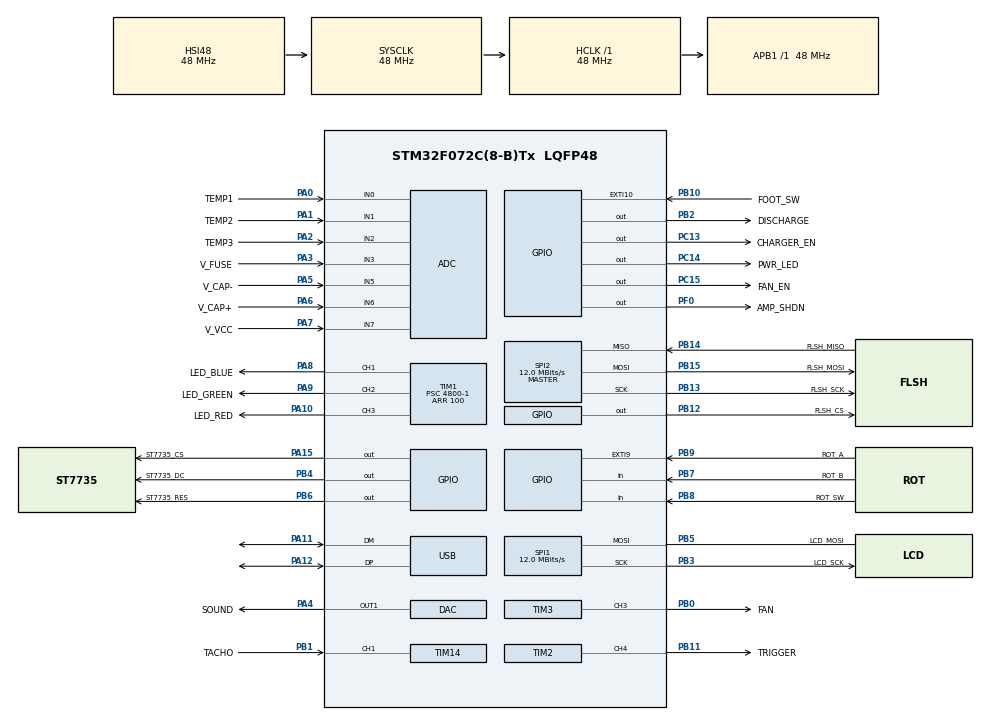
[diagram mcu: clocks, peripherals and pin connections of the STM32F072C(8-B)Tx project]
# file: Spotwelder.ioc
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ADC.SamplingTime=ADC_SAMPLETIME_7CYCLES_5
DAC.DAC_Trigger=DAC_TRIGGER_T6_TRGO
Dma.ADC.1.Direction=DMA_PERIPH_TO_MEMORY
Dma.ADC.1.Instance=DMA1_Channel1
Dma.ADC.1.MemDataAlignment=DMA_MDATAALIGN_HALFWORD
Dma.ADC.1.MemInc=DMA_MINC_ENABLE
Dma.ADC.1.Mode=DMA_NORMAL
Dma.ADC.1.PeriphDataAlignment=DMA_PDATAALIGN_HALFWORD
Dma.ADC.1.PeriphInc=DMA_PINC_DISABLE
Dma.ADC.1.Priority=DMA_PRIORITY_LOW
Dma.DAC_CH1.0.Direction=DMA_MEMORY_TO_PERIPH
Dma.DAC_CH1.0.Instance=DMA1_Channel3
Dma.DAC_CH1.0.MemDataAlignment=DMA_MDATAALIGN_BYTE
Dma.DAC_CH1.0.MemInc=DMA_MINC_ENABLE
Dma.DAC_CH1.0.Mode=DMA_CIRCULAR
Dma.DAC_CH1.0.PeriphDataAlignment=DMA_PDATAALIGN_HALFWORD
Dma.DAC_CH1.0.PeriphInc=DMA_PINC_DISABLE
Dma.DAC_CH1.0.Priority=DMA_PRIORITY_LOW
Dma.Request0=DAC_CH1
Dma.Request1=ADC
Mcu.Family=STM32F0
Mcu.Name=STM32F072C(8-B)Tx
Mcu.Package=LQFP48
NVIC.DMA1_Channel1_IRQn=true\:0\:0\:false\:false\:true\:false\:true
NVIC.DMA1_Channel2_3_IRQn=true\:0\:0\:false\:false\:true\:false\:true
NVIC.EXTI4_15_IRQn=true\:0\:0\:false\:false\:true\:true\:true
NVIC.TIM15_IRQn=true\:0\:0\:false\:false\:true\:true\:true
NVIC.TIM2_IRQn=true\:0\:0\:false\:false\:true\:true\:true
NVIC.TIM6_DAC_IRQn=true\:0\:0\:false\:false\:true\:true\:true
NVIC.USB_IRQn=true\:0\:0\:false\:false\:true\:false\:true
PA0.GPIO_Label=TEMP1
PA0.Mode=IN0
PA0.Signal=ADC_IN0
PA1.GPIO_Label=TEMP2
PA1.Mode=IN1
PA1.Signal=ADC_IN1
PA10.GPIO_Label=LED_RED
PA10.Signal=S_TIM1_CH3
PA11.Mode=Device
PA11.Signal=USB_DM
PA12.Mode=Device
PA12.Signal=USB_DP
PA13.Mode=Serial_Wire
PA13.Signal=SYS_SWDIO
PA14.Mode=Serial_Wire
PA14.Signal=SYS_SWCLK
PA15.GPIO_Label=ST7735_CS
PA15.GPIO_PuPd=GPIO_PULLUP
PA15.Signal=GPIO_Output
PA2.GPIO_Label=TEMP3
PA2.Mode=IN2
PA2.Signal=ADC_IN2
PA3.GPIO_Label=V_FUSE
PA3.Mode=IN3
PA3.Signal=ADC_IN3
PA4.GPIO_Label=SOUND
PA4.Signal=COMP_DAC1_group
PA5.GPIO_Label=V_CAP-
PA5.Mode=IN5
PA5.Signal=ADC_IN5
PA6.GPIO_Label=V_CAP+
PA6.Mode=IN6
PA6.Signal=ADC_IN6
PA7.GPIO_Label=V_VCC
PA7.Mode=IN7
PA7.Signal=ADC_IN7
PA8.GPIO_Label=LED_BLUE
PA8.Signal=S_TIM1_CH1
PA9.GPIO_Label=LED_GREEN
PA9.Signal=S_TIM1_CH2
PB0.GPIO_Label=FAN
PB0.Signal=S_TIM3_CH3
PB1.GPIO_Label=TACHO
PB1.Signal=S_TIM14_CH1
PB10.GPIO_Label=FOOT_SW
PB10.GPIO_ModeDefaultEXTI=GPIO_MODE_IT_FALLING
PB10.GPIO_PuPd=GPIO_PULLUP
PB10.Signal=GPXTI10
PB11.GPIO_Label=TRIGGER
PB11.GPIO_Speed=GPIO_SPEED_FREQ_HIGH
PB11.Signal=S_TIM2_CH4
PB12.GPIO_Label=FLSH_CS
PB12.GPIO_PuPd=GPIO_PULLUP
PB12.Signal=GPIO_Output
PB13.GPIO_Label=FLSH_SCK
PB13.Mode=Full_Duplex_Master
PB13.Signal=SPI2_SCK
PB14.GPIO_Label=FLSH_MISO
PB14.Mode=Full_Duplex_Master
PB14.Signal=SPI2_MISO
PB15.GPIO_Label=FLSH_MOSI
PB15.Mode=Full_Duplex_Master
PB15.Signal=SPI2_MOSI
PB2.GPIO_Label=DISCHARGE
PB2.Signal=GPIO_Output
PB3.GPIO_Label=LCD_SCK
PB3.Mode=Simplex_Bidirectional_Master
PB3.Signal=SPI1_SCK
PB4.GPIO_Label=ST7735_DC
PB4.Signal=GPIO_Output
PB5.GPIO_Label=LCD_MOSI
PB5.Mode=Simplex_Bidirectional_Master
PB5.Signal=SPI1_MOSI
PB6.GPIO_Label=ST7735_RES
PB6.Signal=GPIO_Output
PB7.GPIO_Label=ROT_B
PB7.GPIO_PuPd=GPIO_PULLUP
PB7.Signal=GPIO_Input
PB8.GPIO_Label=ROT_SW
PB8.Signal=GPIO_Input
PB9.GPIO_Label=ROT_A
PB9.GPIO_ModeDefaultEXTI=GPIO_MODE_IT_FALLING
PB9.GPIO_PuPd=GPIO_PULLUP
PB9.Signal=GPXTI9
PC13.GPIO_Label=CHARGER_EN
PC13.PinState=GPIO_PIN_SET
PC13.Signal=GPIO_Output
PC14-OSC32_IN.GPIO_Label=PWR_LED
PC14-OSC32_IN.Signal=GPIO_Output
PC15-OSC32_OUT.GPIO_Label=FAN_EN
PC15-OSC32_OUT.GPIO_PuPd=GPIO_PULLDOWN
PC15-OSC32_OUT.Signal=GPIO_Output
PF0-OSC_IN.GPIO_Label=AMP_SHDN
PF0-OSC_IN.GPIO_PuPd=GPIO_PULLDOWN
PF0-OSC_IN.PinState=GPIO_PIN_RESET
PF0-OSC_IN.Signal=GPIO_Output
ProjectManager.HeapSize=0x200
ProjectManager.StackSize=0x400
ProjectManager.TargetToolchain=Makefile
RCC.AHBFreq_Value=48000000
RCC.APB1Freq_Value=48000000
RCC.APB1TimFreq_Value=48000000
RCC.HCLKFreq_Value=48000000
RCC.SYSCLKFreq_VALUE=48000000
RCC.SYSCLKSource=RCC_SYSCLKSOURCE_HSI48
SH.COMP_DAC1_group.0=DAC_OUT1,DAC_OUT1
SH.S_TIM14_CH1.0=TIM14_CH1,Input_Capture1_from_TI1
SH.S_TIM1_CH1.0=TIM1_CH1,PWM Generation1 CH1
SH.S_TIM1_CH2.0=TIM1_CH2,PWM Generation2 CH2
SH.S_TIM1_CH3.0=TIM1_CH3,PWM Generation3 CH3
SH.S_TIM2_CH4.0=TIM2_CH4,PWM Generation4 CH4
SH.S_TIM3_CH3.0=TIM3_CH3,PWM Generation3 CH3
SPI1.BaudRatePrescaler=SPI_BAUDRATEPRESCALER_4
SPI1.CalculateBaudRate=12.0 MBits/s
SPI1.DataSize=SPI_DATASIZE_8BIT
SPI1.Direction=SPI_DIRECTION_1LINE
SPI1.Mode=SPI_MODE_MASTER
SPI1.VirtualType=VM_MASTER
SPI2.BaudRatePrescaler=SPI_BAUDRATEPRESCALER_4
SPI2.CalculateBaudRate=12.0 MBits/s
SPI2.DataSize=SPI_DATASIZE_8BIT
SPI2.Direction=SPI_DIRECTION_2LINES
SPI2.Mode=SPI_MODE_MASTER
SPI2.VirtualType=VM_MASTER
TIM1.AutoReloadPreload=TIM_AUTORELOAD_PRELOAD_ENABLE
TIM1.Channel-PWM\ Generation1\ CH1=TIM_CHANNEL_1
TIM1.Channel-PWM\ Generation2\ CH2=TIM_CHANNEL_2
TIM1.Channel-PWM\ Generation3\ CH3=TIM_CHANNEL_3
TIM1.ClockDivision=TIM_CLOCKDIVISION_DIV1
TIM1.OCIdleState_1=TIM_OCIDLESTATE_SET
TIM1.OCIdleState_2=TIM_OCIDLESTATE_SET
TIM1.OCIdleState_3=TIM_OCIDLESTATE_SET
TIM1.OCPolarity_1=TIM_OCPOLARITY_LOW
TIM1.OCPolarity_2=TIM_OCPOLARITY_LOW
TIM1.OCPolarity_3=TIM_OCPOLARITY_LOW
TIM1.Period=100
TIM1.Prescaler=4800-1
TIM1.Pulse-PWM\ Generation1\ CH1=100
TIM1.Pulse-PWM\ Generation2\ CH2=50
TIM1.Pulse-PWM\ Generation3\ CH3=25
TIM14.Channel=TIM_CHANNEL_1
TIM15.Period=20
TIM15.Prescaler=4800-1
TIM2.Channel-PWM\ Generation4\ CH4=TIM_CHANNEL_4
TIM2.ClockDivision=TIM_CLOCKDIVISION_DIV1
TIM2.CounterMode=TIM_COUNTERMODE_DOWN
TIM2.OCMode_PWM-PWM\ Generation4\ CH4=TIM_OCMODE_PWM2
TIM2.OCPolarity_4=TIM_OCPOLARITY_LOW
TIM2.Period=1000
TIM2.Prescaler=48000-1
TIM2.Pulse-PWM\ Generation4\ CH4=100
TIM3.Channel-PWM\ Generation3\ CH3=TIM_CHANNEL_3
TIM6.AutoReloadPreload=TIM_AUTORELOAD_PRELOAD_ENABLE
TIM6.Period=1500-1
TIM6.Prescaler=4-1
TIM6.TIM_MasterOutputTrigger=TIM_TRGO_UPDATE
USB_DEVICE.CLASS_NAME_FS=CDC
USB_DEVICE.VirtualMode=Cdc
USB_DEVICE.VirtualModeFS=Cdc_FS
VP_TIM14_VS_ClockSourceINT.Mode=Enable_Timer
VP_TIM15_VS_ClockSourceINT.Mode=Internal
VP_TIM2_VS_OPM.Mode=OPM_bit
VP_TIM6_VS_ClockSourceINT.Mode=Enable_Timer
VP_USB_DEVICE_VS_USB_DEVICE_CDC_FS.Mode=CDC_FS
board=Spotwelder-UI

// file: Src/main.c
/* USER CODE BEGIN Header */
/**
  ******************************************************************************
  * @file           : main.c
  * @brief          : Main program body
  ******************************************************************************
  * @attention
  *
  * <h2><center>&copy; Copyright (c) 2020 STMicroelectronics.
  * All rights reserved.</center></h2>
  *
  * This software component is licensed by ST under Ultimate Liberty license
  * SLA0044, the "License"; You may not use this file except in compliance with
  * the License. You may obtain a copy of the License at:
  *                             www.st.com/SLA0044
  *
  ******************************************************************************
  */
/* USER CODE END Header */

#include "main.h"
#include "usb_device.h"

/* USER CODE BEGIN Includes */
#include "stdint.h"
#include "logic.h"
#include "audioPlayer.h"
/* USER CODE END Includes */

ADC_HandleTypeDef hadc;
DMA_HandleTypeDef hdma_adc;

DAC_HandleTypeDef hdac;
DMA_HandleTypeDef hdma_dac_ch1;

SPI_HandleTypeDef hspi1;
SPI_HandleTypeDef hspi2;

TIM_HandleTypeDef htim1;
TIM_HandleTypeDef htim2;
TIM_HandleTypeDef htim3;
TIM_HandleTypeDef htim6;
TIM_HandleTypeDef htim14;
TIM_HandleTypeDef htim15;

/* USER CODE BEGIN PV */
/* Private variables ---------------------------------------------------------*/

/*dataCollection_t *pdata;
//volatile buttonEvent_t rot, foot, menu;

char strBuffer[32];

volatile uint16_t tacho=0;

//dataCollection_t *pData;
volatile buttonEvent_t buttonEvent,lbuttonEvent = NONE_PRESSED;
volatile buttonEvent_t footSwEvent,lfootSwEvent = NONE_PRESSED;
volatile rotaryEvent_t rotEvent,lrotEvent = ROT_NONE;*/

/* USER CODE END PV */

void SystemClock_Config(void);
static void MX_GPIO_Init(void);
static void MX_DMA_Init(void);
static void MX_ADC_Init(void);
static void MX_DAC_Init(void);
static void MX_SPI1_Init(void);
static void MX_SPI2_Init(void);
static void MX_TIM1_Init(void);
static void MX_TIM2_Init(void);
static void MX_TIM3_Init(void);
static void MX_TIM14_Init(void);
static void MX_TIM15_Init(void);
static void MX_TIM6_Init(void);
/* USER CODE BEGIN PFP */
/* Private function prototypes -----------------------------------------------*/

/* USER CODE END PFP */

/* USER CODE BEGIN 0 */

uint8_t red, green, blue;
/*
void HAL_TIM_PeriodElapsedCallback(TIM_HandleTypeDef *htim)
{
	static uint8_t lastState=0;
	static uint16_t cnt=0;

  if(htim->Instance == htim2.Instance)
    {
    	weldingTimerISR();

    }
  else if(htim->Instance == htim15.Instance)
  {
	  checkButton(&buttonEvent);
  }
}

void HAL_GPIO_EXTI_Callback(uint16_t GPIO_Pin)
{
	  if(GPIO_Pin == ROT_A_Pin)//Rotary encoder turned
	  {
		  if(HAL_GPIO_ReadPin(ROT_B_GPIO_Port, ROT_B_Pin)==GPIO_PIN_SET)
			  //turned clockwise
			  //updateUIRot(CW);
		  	  rotEvent = ROT_INC;
		  else
			  //turned counterclockwise
			  //updateUIRot(CCW);
			  rotEvent = ROT_DEC;
	  }
}*/

/* USER CODE END 0 */

int main(void)
{

  /* MCU Configuration--------------------------------------------------------*/

  /* Reset of all peripherals, Initializes the Flash interface and the Systick. */
  HAL_Init();

  /* Configure the system clock */
  SystemClock_Config();

  /* Initialize all configured peripherals */
  MX_GPIO_Init();
  MX_DMA_Init();
  MX_ADC_Init();
  MX_DAC_Init();
  MX_SPI1_Init();
  MX_SPI2_Init();
  MX_TIM1_Init();
  MX_TIM2_Init();
  MX_TIM3_Init();
  MX_TIM14_Init();
  MX_USB_DEVICE_Init();
  MX_TIM15_Init();
  MX_TIM6_Init();
  /* USER CODE BEGIN 2 */

  //HAL_TIM_Base_Start(&htim1);
  //HAL_TIM_PWM_Start(&htim1,TIM_CHANNEL_ALL);

//TIM1 CH1-4 -> RGB PWM
//TIM2 CH4 -> Trigger
//TIM3 CH3 -> FAN
//TIM14 -> input capture (tacho)

  HAL_TIM_Base_Start(&htim1);
  HAL_TIM_PWM_Start(&htim1,TIM_CHANNEL_1);
  HAL_TIM_PWM_Start(&htim1,TIM_CHANNEL_2);
  HAL_TIM_PWM_Start(&htim1,TIM_CHANNEL_3);

  HAL_TIM_PWM_Start(&htim3,TIM_CHANNEL_3); //FAN PWM
  HAL_TIM_Base_Start_IT(&htim15); //GP Timer 20ms/50Hz
  HAL_TIM_IC_Start_IT(&htim14,TIM_CHANNEL_1);

  //HAL_TIM_Base_Start(&htim2);

  //pdata = initLogic();
  initLogic();
    playerInit(&htim6, &hdac, &hdma_dac_ch1);
  /* USER CODE END 2 */

  /* Infinite loop */
  while (1)
  {

    /* USER CODE BEGIN 3 */
    updateState();
    HAL_Delay(5);

  }
  /* USER CODE END 3 */
}

void SystemClock_Config(void)
{
  RCC_OscInitTypeDef RCC_OscInitStruct = {0};
  RCC_ClkInitTypeDef RCC_ClkInitStruct = {0};
  RCC_PeriphCLKInitTypeDef PeriphClkInit = {0};

  /** Initializes the CPU, AHB and APB busses clocks
  */
  RCC_OscInitStruct.OscillatorType = RCC_OSCILLATORTYPE_HSI14|RCC_OSCILLATORTYPE_HSI48;
  RCC_OscInitStruct.HSI48State = RCC_HSI48_ON;
  RCC_OscInitStruct.HSI14State = RCC_HSI14_ON;
  RCC_OscInitStruct.HSI14CalibrationValue = 16;
  RCC_OscInitStruct.PLL.PLLState = RCC_PLL_NONE;
  if (HAL_RCC_OscConfig(&RCC_OscInitStruct) != HAL_OK)
  {
    Error_Handler();
  }
  /** Initializes the CPU, AHB and APB busses clocks
  */
  RCC_ClkInitStruct.ClockType = RCC_CLOCKTYPE_HCLK|RCC_CLOCKTYPE_SYSCLK
                              |RCC_CLOCKTYPE_PCLK1;
  RCC_ClkInitStruct.SYSCLKSource = RCC_SYSCLKSOURCE_HSI48;
  RCC_ClkInitStruct.AHBCLKDivider = RCC_SYSCLK_DIV1;
  RCC_ClkInitStruct.APB1CLKDivider = RCC_HCLK_DIV1;

  if (HAL_RCC_ClockConfig(&RCC_ClkInitStruct, FLASH_LATENCY_1) != HAL_OK)
  {
    Error_Handler();
  }
  PeriphClkInit.PeriphClockSelection = RCC_PERIPHCLK_USB;
  PeriphClkInit.UsbClockSelection = RCC_USBCLKSOURCE_HSI48;

  if (HAL_RCCEx_PeriphCLKConfig(&PeriphClkInit) != HAL_OK)
  {
    Error_Handler();
  }
  HAL_RCC_MCOConfig(RCC_MCO, RCC_MCO1SOURCE_SYSCLK, RCC_MCODIV_1);
}

static void MX_ADC_Init(void)
{

  ADC_ChannelConfTypeDef sConfig = {0};

  /** Configure the global features of the ADC (Clock, Resolution, Data Alignment and number of conversion)
  */
  hadc.Instance = ADC1;
  hadc.Init.ClockPrescaler = ADC_CLOCK_ASYNC_DIV1;
  hadc.Init.Resolution = ADC_RESOLUTION_12B;
  hadc.Init.DataAlign = ADC_DATAALIGN_RIGHT;
  hadc.Init.ScanConvMode = ADC_SCAN_DIRECTION_FORWARD;
  hadc.Init.EOCSelection = ADC_EOC_SINGLE_CONV;
  hadc.Init.LowPowerAutoWait = DISABLE;
  hadc.Init.LowPowerAutoPowerOff = DISABLE;
  hadc.Init.ContinuousConvMode = DISABLE;
  hadc.Init.DiscontinuousConvMode = DISABLE;
  hadc.Init.ExternalTrigConv = ADC_SOFTWARE_START;
  hadc.Init.ExternalTrigConvEdge = ADC_EXTERNALTRIGCONVEDGE_NONE;
  hadc.Init.DMAContinuousRequests = DISABLE;
  hadc.Init.Overrun = ADC_OVR_DATA_PRESERVED;
  if (HAL_ADC_Init(&hadc) != HAL_OK)
  {
    Error_Handler();
  }
  /** Configure for the selected ADC regular channel to be converted.
  */
  sConfig.Channel = ADC_CHANNEL_0;
  sConfig.Rank = ADC_RANK_CHANNEL_NUMBER;
  sConfig.SamplingTime = ADC_SAMPLETIME_7CYCLES_5;
  if (HAL_ADC_ConfigChannel(&hadc, &sConfig) != HAL_OK)
  {
    Error_Handler();
  }
  /** Configure for the selected ADC regular channel to be converted.
  */
  sConfig.Channel = ADC_CHANNEL_1;
  if (HAL_ADC_ConfigChannel(&hadc, &sConfig) != HAL_OK)
  {
    Error_Handler();
  }
  /** Configure for the selected ADC regular channel to be converted.
  */
  sConfig.Channel = ADC_CHANNEL_2;
  if (HAL_ADC_ConfigChannel(&hadc, &sConfig) != HAL_OK)
  {
    Error_Handler();
  }
  /** Configure for the selected ADC regular channel to be converted.
  */
  sConfig.Channel = ADC_CHANNEL_3;
  if (HAL_ADC_ConfigChannel(&hadc, &sConfig) != HAL_OK)
  {
    Error_Handler();
  }
  /** Configure for the selected ADC regular channel to be converted.
  */
  sConfig.Channel = ADC_CHANNEL_5;
  if (HAL_ADC_ConfigChannel(&hadc, &sConfig) != HAL_OK)
  {
    Error_Handler();
  }
  /** Configure for the selected ADC regular channel to be converted.
  */
  sConfig.Channel = ADC_CHANNEL_6;
  if (HAL_ADC_ConfigChannel(&hadc, &sConfig) != HAL_OK)
  {
    Error_Handler();
  }
  /** Configure for the selected ADC regular channel to be converted.
  */
  sConfig.Channel = ADC_CHANNEL_7;
  if (HAL_ADC_ConfigChannel(&hadc, &sConfig) != HAL_OK)
  {
    Error_Handler();
  }

}

static void MX_DAC_Init(void)
{

  DAC_ChannelConfTypeDef sConfig = {0};

  /** DAC Initialization
  */
  hdac.Instance = DAC;
  if (HAL_DAC_Init(&hdac) != HAL_OK)
  {
    Error_Handler();
  }
  /** DAC channel OUT1 config
  */
  sConfig.DAC_Trigger = DAC_TRIGGER_T6_TRGO;
  sConfig.DAC_OutputBuffer = DAC_OUTPUTBUFFER_ENABLE;
  if (HAL_DAC_ConfigChannel(&hdac, &sConfig, DAC_CHANNEL_1) != HAL_OK)
  {
    Error_Handler();
  }

}

static void MX_SPI1_Init(void)
{

  /* SPI1 parameter configuration*/
  hspi1.Instance = SPI1;
  hspi1.Init.Mode = SPI_MODE_MASTER;
  hspi1.Init.Direction = SPI_DIRECTION_1LINE;
  hspi1.Init.DataSize = SPI_DATASIZE_8BIT;
  hspi1.Init.CLKPolarity = SPI_POLARITY_LOW;
  hspi1.Init.CLKPhase = SPI_PHASE_1EDGE;
  hspi1.Init.NSS = SPI_NSS_SOFT;
  hspi1.Init.BaudRatePrescaler = SPI_BAUDRATEPRESCALER_4;
  hspi1.Init.FirstBit = SPI_FIRSTBIT_MSB;
  hspi1.Init.TIMode = SPI_TIMODE_DISABLE;
  hspi1.Init.CRCCalculation = SPI_CRCCALCULATION_DISABLE;
  hspi1.Init.CRCPolynomial = 7;
  hspi1.Init.CRCLength = SPI_CRC_LENGTH_DATASIZE;
  hspi1.Init.NSSPMode = SPI_NSS_PULSE_ENABLE;
  if (HAL_SPI_Init(&hspi1) != HAL_OK)
  {
    Error_Handler();
  }

}

static void MX_SPI2_Init(void)
{

  /* SPI2 parameter configuration*/
  hspi2.Instance = SPI2;
  hspi2.Init.Mode = SPI_MODE_MASTER;
  hspi2.Init.Direction = SPI_DIRECTION_2LINES;
  hspi2.Init.DataSize = SPI_DATASIZE_8BIT;
  hspi2.Init.CLKPolarity = SPI_POLARITY_LOW;
  hspi2.Init.CLKPhase = SPI_PHASE_1EDGE;
  hspi2.Init.NSS = SPI_NSS_SOFT;
  hspi2.Init.BaudRatePrescaler = SPI_BAUDRATEPRESCALER_4;
  hspi2.Init.FirstBit = SPI_FIRSTBIT_MSB;
  hspi2.Init.TIMode = SPI_TIMODE_DISABLE;
  hspi2.Init.CRCCalculation = SPI_CRCCALCULATION_DISABLE;
  hspi2.Init.CRCPolynomial = 7;
  hspi2.Init.CRCLength = SPI_CRC_LENGTH_DATASIZE;
  hspi2.Init.NSSPMode = SPI_NSS_PULSE_ENABLE;
  if (HAL_SPI_Init(&hspi2) != HAL_OK)
  {
    Error_Handler();
  }

}

static void MX_TIM1_Init(void)
{

  TIM_MasterConfigTypeDef sMasterConfig = {0};
  TIM_OC_InitTypeDef sConfigOC = {0};
  TIM_BreakDeadTimeConfigTypeDef sBreakDeadTimeConfig = {0};

  htim1.Instance = TIM1;
  htim1.Init.Prescaler = 4800-1;
  htim1.Init.CounterMode = TIM_COUNTERMODE_UP;
  htim1.Init.Period = 100;
  htim1.Init.ClockDivision = TIM_CLOCKDIVISION_DIV1;
  htim1.Init.RepetitionCounter = 0;
  htim1.Init.AutoReloadPreload = TIM_AUTORELOAD_PRELOAD_ENABLE;
  if (HAL_TIM_PWM_Init(&htim1) != HAL_OK)
  {
    Error_Handler();
  }
  sMasterConfig.MasterOutputTrigger = TIM_TRGO_RESET;
  sMasterConfig.MasterSlaveMode = TIM_MASTERSLAVEMODE_DISABLE;
  if (HAL_TIMEx_MasterConfigSynchronization(&htim1, &sMasterConfig) != HAL_OK)
  {
    Error_Handler();
  }
  sConfigOC.OCMode = TIM_OCMODE_PWM1;
  sConfigOC.Pulse = 100;
  sConfigOC.OCPolarity = TIM_OCPOLARITY_LOW;
  sConfigOC.OCNPolarity = TIM_OCNPOLARITY_HIGH;
  sConfigOC.OCFastMode = TIM_OCFAST_DISABLE;
  sConfigOC.OCIdleState = TIM_OCIDLESTATE_SET;
  sConfigOC.OCNIdleState = TIM_OCNIDLESTATE_RESET;
  if (HAL_TIM_PWM_ConfigChannel(&htim1, &sConfigOC, TIM_CHANNEL_1) != HAL_OK)
  {
    Error_Handler();
  }
  sConfigOC.Pulse = 50;
  if (HAL_TIM_PWM_ConfigChannel(&htim1, &sConfigOC, TIM_CHANNEL_2) != HAL_OK)
  {
    Error_Handler();
  }
  sConfigOC.Pulse = 25;
  if (HAL_TIM_PWM_ConfigChannel(&htim1, &sConfigOC, TIM_CHANNEL_3) != HAL_OK)
  {
    Error_Handler();
  }
  sBreakDeadTimeConfig.OffStateRunMode = TIM_OSSR_DISABLE;
  sBreakDeadTimeConfig.OffStateIDLEMode = TIM_OSSI_DISABLE;
  sBreakDeadTimeConfig.LockLevel = TIM_LOCKLEVEL_OFF;
  sBreakDeadTimeConfig.DeadTime = 0;
  sBreakDeadTimeConfig.BreakState = TIM_BREAK_DISABLE;
  sBreakDeadTimeConfig.BreakPolarity = TIM_BREAKPOLARITY_HIGH;
  sBreakDeadTimeConfig.AutomaticOutput = TIM_AUTOMATICOUTPUT_DISABLE;
  if (HAL_TIMEx_ConfigBreakDeadTime(&htim1, &sBreakDeadTimeConfig) != HAL_OK)
  {
    Error_Handler();
  }
  HAL_TIM_MspPostInit(&htim1);

}

static void MX_TIM2_Init(void)
{

  TIM_MasterConfigTypeDef sMasterConfig = {0};
  TIM_OC_InitTypeDef sConfigOC = {0};

  htim2.Instance = TIM2;
  htim2.Init.Prescaler = 48000-1;
  htim2.Init.CounterMode = TIM_COUNTERMODE_DOWN;
  htim2.Init.Period = 1000;
  htim2.Init.ClockDivision = TIM_CLOCKDIVISION_DIV1;
  htim2.Init.AutoReloadPreload = TIM_AUTORELOAD_PRELOAD_DISABLE;
  if (HAL_TIM_PWM_Init(&htim2) != HAL_OK)
  {
    Error_Handler();
  }
  if (HAL_TIM_OnePulse_Init(&htim2, TIM_OPMODE_SINGLE) != HAL_OK)
  {
    Error_Handler();
  }
  sMasterConfig.MasterOutputTrigger = TIM_TRGO_RESET;
  sMasterConfig.MasterSlaveMode = TIM_MASTERSLAVEMODE_DISABLE;
  if (HAL_TIMEx_MasterConfigSynchronization(&htim2, &sMasterConfig) != HAL_OK)
  {
    Error_Handler();
  }
  sConfigOC.OCMode = TIM_OCMODE_PWM2;
  sConfigOC.Pulse = 100;
  sConfigOC.OCPolarity = TIM_OCPOLARITY_LOW;
  sConfigOC.OCFastMode = TIM_OCFAST_DISABLE;
  if (HAL_TIM_PWM_ConfigChannel(&htim2, &sConfigOC, TIM_CHANNEL_4) != HAL_OK)
  {
    Error_Handler();
  }
  HAL_TIM_MspPostInit(&htim2);

}

static void MX_TIM3_Init(void)
{

  TIM_MasterConfigTypeDef sMasterConfig = {0};
  TIM_OC_InitTypeDef sConfigOC = {0};

  htim3.Instance = TIM3;
  htim3.Init.Prescaler = 0;
  htim3.Init.CounterMode = TIM_COUNTERMODE_UP;
  htim3.Init.Period = 0;
  htim3.Init.ClockDivision = TIM_CLOCKDIVISION_DIV1;
  htim3.Init.AutoReloadPreload = TIM_AUTORELOAD_PRELOAD_DISABLE;
  if (HAL_TIM_PWM_Init(&htim3) != HAL_OK)
  {
    Error_Handler();
  }
  sMasterConfig.MasterOutputTrigger = TIM_TRGO_RESET;
  sMasterConfig.MasterSlaveMode = TIM_MASTERSLAVEMODE_DISABLE;
  if (HAL_TIMEx_MasterConfigSynchronization(&htim3, &sMasterConfig) != HAL_OK)
  {
    Error_Handler();
  }
  sConfigOC.OCMode = TIM_OCMODE_PWM1;
  sConfigOC.Pulse = 0;
  sConfigOC.OCPolarity = TIM_OCPOLARITY_HIGH;
  sConfigOC.OCFastMode = TIM_OCFAST_DISABLE;
  if (HAL_TIM_PWM_ConfigChannel(&htim3, &sConfigOC, TIM_CHANNEL_3) != HAL_OK)
  {
    Error_Handler();
  }
  HAL_TIM_MspPostInit(&htim3);

}

static void MX_TIM6_Init(void)
{

  TIM_MasterConfigTypeDef sMasterConfig = {0};

  htim6.Instance = TIM6;
  htim6.Init.Prescaler = 4-1;
  htim6.Init.CounterMode = TIM_COUNTERMODE_UP;
  htim6.Init.Period = 1500-1;
  htim6.Init.AutoReloadPreload = TIM_AUTORELOAD_PRELOAD_ENABLE;
  if (HAL_TIM_Base_Init(&htim6) != HAL_OK)
  {
    Error_Handler();
  }
  sMasterConfig.MasterOutputTrigger = TIM_TRGO_UPDATE;
  sMasterConfig.MasterSlaveMode = TIM_MASTERSLAVEMODE_DISABLE;
  if (HAL_TIMEx_MasterConfigSynchronization(&htim6, &sMasterConfig) != HAL_OK)
  {
    Error_Handler();
  }

}

static void MX_TIM14_Init(void)
{

  TIM_IC_InitTypeDef sConfigIC = {0};

  htim14.Instance = TIM14;
  htim14.Init.Prescaler = 0;
  htim14.Init.CounterMode = TIM_COUNTERMODE_UP;
  htim14.Init.Period = 0;
  htim14.Init.ClockDivision = TIM_CLOCKDIVISION_DIV1;
  htim14.Init.AutoReloadPreload = TIM_AUTORELOAD_PRELOAD_DISABLE;
  if (HAL_TIM_Base_Init(&htim14) != HAL_OK)
  {
    Error_Handler();
  }
  if (HAL_TIM_IC_Init(&htim14) != HAL_OK)
  {
    Error_Handler();
  }
  sConfigIC.ICPolarity = TIM_INPUTCHANNELPOLARITY_RISING;
  sConfigIC.ICSelection = TIM_ICSELECTION_DIRECTTI;
  sConfigIC.ICPrescaler = TIM_ICPSC_DIV1;
  sConfigIC.ICFilter = 0;
  if (HAL_TIM_IC_ConfigChannel(&htim14, &sConfigIC, TIM_CHANNEL_1) != HAL_OK)
  {
    Error_Handler();
  }

}

static void MX_TIM15_Init(void)
{

  TIM_ClockConfigTypeDef sClockSourceConfig = {0};
  TIM_MasterConfigTypeDef sMasterConfig = {0};

  htim15.Instance = TIM15;
  htim15.Init.Prescaler = 4800-1;
  htim15.Init.CounterMode = TIM_COUNTERMODE_UP;
  htim15.Init.Period = 20;
  htim15.Init.ClockDivision = TIM_CLOCKDIVISION_DIV1;
  htim15.Init.RepetitionCounter = 0;
  htim15.Init.AutoReloadPreload = TIM_AUTORELOAD_PRELOAD_DISABLE;
  if (HAL_TIM_Base_Init(&htim15) != HAL_OK)
  {
    Error_Handler();
  }
  sClockSourceConfig.ClockSource = TIM_CLOCKSOURCE_INTERNAL;
  if (HAL_TIM_ConfigClockSource(&htim15, &sClockSourceConfig) != HAL_OK)
  {
    Error_Handler();
  }
  sMasterConfig.MasterOutputTrigger = TIM_TRGO_RESET;
  sMasterConfig.MasterSlaveMode = TIM_MASTERSLAVEMODE_DISABLE;
  if (HAL_TIMEx_MasterConfigSynchronization(&htim15, &sMasterConfig) != HAL_OK)
  {
    Error_Handler();
  }

}

static void MX_DMA_Init(void)
{

  /* DMA controller clock enable */
  __HAL_RCC_DMA1_CLK_ENABLE();

  /* DMA interrupt init */
  /* DMA1_Channel1_IRQn interrupt configuration */
  HAL_NVIC_SetPriority(DMA1_Channel1_IRQn, 0, 0);
  HAL_NVIC_EnableIRQ(DMA1_Channel1_IRQn);
  /* DMA1_Channel2_3_IRQn interrupt configuration */
  HAL_NVIC_SetPriority(DMA1_Channel2_3_IRQn, 0, 0);
  HAL_NVIC_EnableIRQ(DMA1_Channel2_3_IRQn);

}

static void MX_GPIO_Init(void)
{
  GPIO_InitTypeDef GPIO_InitStruct = {0};

  /* GPIO Ports Clock Enable */
  __HAL_RCC_GPIOC_CLK_ENABLE();
  __HAL_RCC_GPIOF_CLK_ENABLE();
  __HAL_RCC_GPIOA_CLK_ENABLE();
  __HAL_RCC_GPIOB_CLK_ENABLE();

  /*Configure GPIO pin Output Level */
  HAL_GPIO_WritePin(CHARGER_EN_GPIO_Port, CHARGER_EN_Pin, GPIO_PIN_SET);

  /*Configure GPIO pin Output Level */
  HAL_GPIO_WritePin(GPIOC, PWR_LED_Pin|FAN_EN_Pin, GPIO_PIN_RESET);

  /*Configure GPIO pin Output Level */
  HAL_GPIO_WritePin(AMP_SHDN_GPIO_Port, AMP_SHDN_Pin, GPIO_PIN_RESET);

  /*Configure GPIO pin Output Level */
  HAL_GPIO_WritePin(GPIOB, DISCHARGE_Pin|FLSH_CS_Pin|ST7735_DC_Pin|ST7735_RES_Pin, GPIO_PIN_RESET);

  /*Configure GPIO pin Output Level */
  HAL_GPIO_WritePin(ST7735_CS_GPIO_Port, ST7735_CS_Pin, GPIO_PIN_RESET);

  /*Configure GPIO pins : CHARGER_EN_Pin PWR_LED_Pin */
  GPIO_InitStruct.Pin = CHARGER_EN_Pin|PWR_LED_Pin;
  GPIO_InitStruct.Mode = GPIO_MODE_OUTPUT_PP;
  GPIO_InitStruct.Pull = GPIO_NOPULL;
  GPIO_InitStruct.Speed = GPIO_SPEED_FREQ_LOW;
  HAL_GPIO_Init(GPIOC, &GPIO_InitStruct);

  /*Configure GPIO pin : FAN_EN_Pin */
  GPIO_InitStruct.Pin = FAN_EN_Pin;
  GPIO_InitStruct.Mode = GPIO_MODE_OUTPUT_PP;
  GPIO_InitStruct.Pull = GPIO_PULLDOWN;
  GPIO_InitStruct.Speed = GPIO_SPEED_FREQ_LOW;
  HAL_GPIO_Init(FAN_EN_GPIO_Port, &GPIO_InitStruct);

  /*Configure GPIO pin : AMP_SHDN_Pin */
  GPIO_InitStruct.Pin = AMP_SHDN_Pin;
  GPIO_InitStruct.Mode = GPIO_MODE_OUTPUT_PP;
  GPIO_InitStruct.Pull = GPIO_PULLDOWN;
  GPIO_InitStruct.Speed = GPIO_SPEED_FREQ_LOW;
  HAL_GPIO_Init(AMP_SHDN_GPIO_Port, &GPIO_InitStruct);

  /*Configure GPIO pins : DISCHARGE_Pin ST7735_DC_Pin ST7735_RES_Pin */
  GPIO_InitStruct.Pin = DISCHARGE_Pin|ST7735_DC_Pin|ST7735_RES_Pin;
  GPIO_InitStruct.Mode = GPIO_MODE_OUTPUT_PP;
  GPIO_InitStruct.Pull = GPIO_NOPULL;
  GPIO_InitStruct.Speed = GPIO_SPEED_FREQ_LOW;
  HAL_GPIO_Init(GPIOB, &GPIO_InitStruct);

  /*Configure GPIO pins : FOOT_SW_Pin ROT_A_Pin */
  GPIO_InitStruct.Pin = FOOT_SW_Pin|ROT_A_Pin;
  GPIO_InitStruct.Mode = GPIO_MODE_IT_FALLING;
  GPIO_InitStruct.Pull = GPIO_PULLUP;
  HAL_GPIO_Init(GPIOB, &GPIO_InitStruct);

  /*Configure GPIO pin : FLSH_CS_Pin */
  GPIO_InitStruct.Pin = FLSH_CS_Pin;
  GPIO_InitStruct.Mode = GPIO_MODE_OUTPUT_PP;
  GPIO_InitStruct.Pull = GPIO_PULLUP;
  GPIO_InitStruct.Speed = GPIO_SPEED_FREQ_LOW;
  HAL_GPIO_Init(FLSH_CS_GPIO_Port, &GPIO_InitStruct);

  /*Configure GPIO pin : ST7735_CS_Pin */
  GPIO_InitStruct.Pin = ST7735_CS_Pin;
  GPIO_InitStruct.Mode = GPIO_MODE_OUTPUT_PP;
  GPIO_InitStruct.Pull = GPIO_PULLUP;
  GPIO_InitStruct.Speed = GPIO_SPEED_FREQ_LOW;
  HAL_GPIO_Init(ST7735_CS_GPIO_Port, &GPIO_InitStruct);

  /*Configure GPIO pin : ROT_B_Pin */
  GPIO_InitStruct.Pin = ROT_B_Pin;
  GPIO_InitStruct.Mode = GPIO_MODE_INPUT;
  GPIO_InitStruct.Pull = GPIO_PULLUP;
  HAL_GPIO_Init(ROT_B_GPIO_Port, &GPIO_InitStruct);

  /*Configure GPIO pin : ROT_SW_Pin */
  GPIO_InitStruct.Pin = ROT_SW_Pin;
  GPIO_InitStruct.Mode = GPIO_MODE_INPUT;
  GPIO_InitStruct.Pull = GPIO_NOPULL;
  HAL_GPIO_Init(ROT_SW_GPIO_Port, &GPIO_InitStruct);

  /* EXTI interrupt init*/
  HAL_NVIC_SetPriority(EXTI4_15_IRQn, 0, 0);
  HAL_NVIC_EnableIRQ(EXTI4_15_IRQn);

}

void Error_Handler(void)
{
  while(1)
  {
  }
}

/************************ (C) COPYRIGHT STMicroelectronics *****END OF FILE****/
